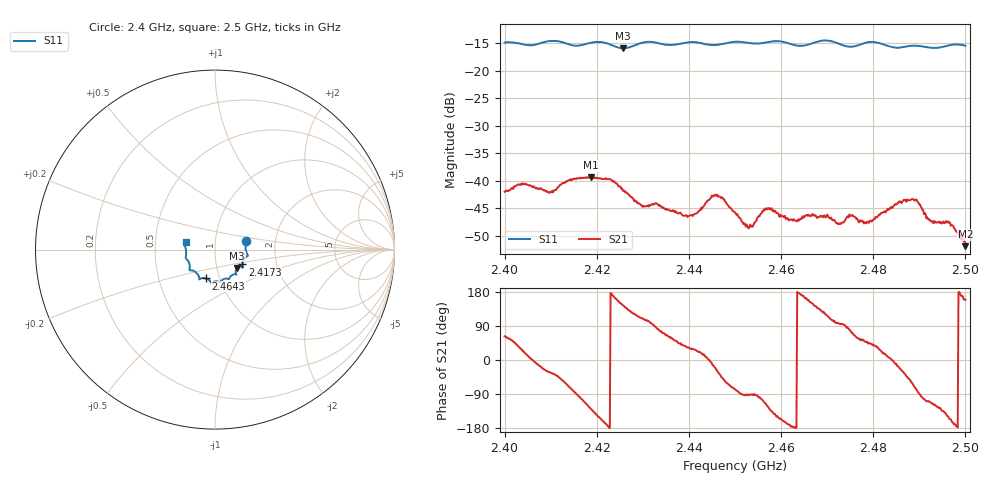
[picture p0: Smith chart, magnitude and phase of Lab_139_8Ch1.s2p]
# Hz S RI R 50
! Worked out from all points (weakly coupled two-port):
!   601 points, 2.4 GHz to 2.5 GHz, reference 50 ohm
!   highest |S21| = -39.34 dB at 2.4187 GHz (marker M1); lowest = -51.9 dB at 2.5 GHz (marker M2)
!   lowest |S11| = -15.9 dB at 2.4257 GHz (marker M3), VSWR 1.38, Z = 62.5 - j13.1 ohm
!   |S11| at or under -10 dB: start of sweep to end of sweep
!   S12 and S22 are empty: the file has one direction only
!   S11 on the Smith chart (normalised r, x): 2.4 GHz: 1.41, +0.14; 2.4173 GHz: 1.34, -0.23; 2.4643 GHz: 0.86, -0.28; 2.5 GHz: 0.72, +0.06
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2.4e9  0.1734 0.0493  0.00367 0.00705  0 0  0 0
2.404333e9  0.171 0.0216  0.00891 0.00315  0 0  0 0
2.41e9  0.1836 -0.0323  0.00656 -0.0044  0 0  0 0
2.416667e9  0.1534 -0.0748  -0.00239 -0.0104  0 0  0 0
2.417333e9  0.1526 -0.0824  -0.00389 -0.00991  0 0  0 0
2.418667e9  0.1529 -0.0935  -0.00662 -0.00851  0 0  0 0
2.425667e9  0.1227 -0.1018  -0.00662 0.00478  0 0  0 0
2.43e9  0.1179 -0.1361  -0.00184 0.0055  0 0  0 0
2.433333e9  0.1132 -0.1372  0.000886 0.00599  0 0  0 0
2.440167e9  0.0793 -0.1637  0.00419 0.00243  0 0  0 0
2.446e9  0.0476 -0.1646  0.0065 -0.00333  0 0  0 0
2.45e9  0.0294 -0.1808  0.00108 -0.00505  0 0  0 0
2.453167e9  0.0165 -0.1774  -0.000167 -0.0039  0 0  0 0
2.457e9  -0.0133 -0.181  -0.00291 -0.00469  0 0  0 0
2.464333e9  -0.0498 -0.1607  -0.00446 0.000601  0 0  0 0
2.466667e9  -0.0759 -0.1595  -0.00427 0.00242  0 0  0 0
2.4785e9  -0.1382 -0.1154  0.00278 0.00303  0 0  0 0
2.483333e9  -0.1407 -0.0902  0.00543 0.000639  0 0  0 0
2.489e9  -0.1626 -0.0456  0.00213 -0.00625  0 0  0 0
2.492e9  -0.1608 -0.0254  -0.00139 -0.00422  0 0  0 0
2.496167e9  -0.1675 0.0204  -0.00354 -0.00221  0 0  0 0
2.5e9  -0.1636 0.0417  -0.00238 0.000916  0 0  0 0
